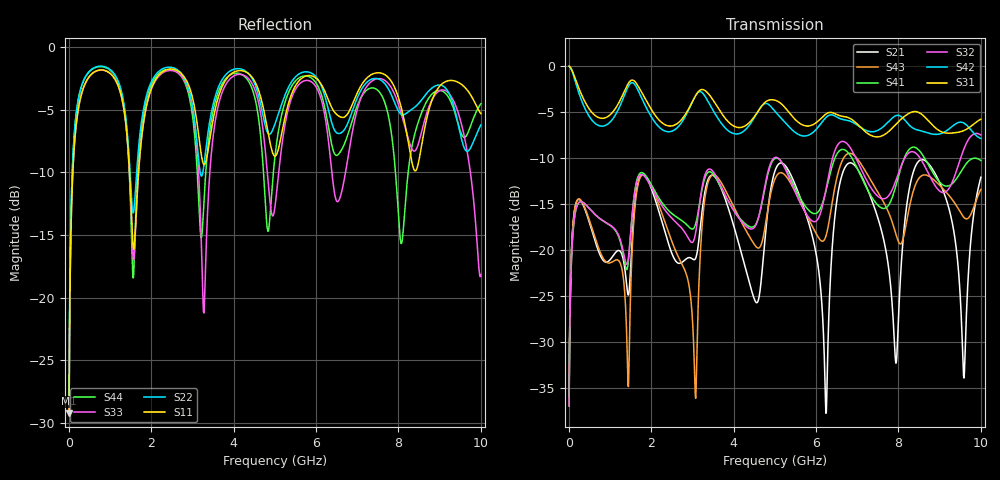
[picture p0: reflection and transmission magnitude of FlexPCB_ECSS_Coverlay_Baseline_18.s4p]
! TOUCHSTONE file generated by CST MICROWAVE STUDIO
! Date and time: Sun Jul  5 19:09:42 2026
! Project name: FlexPCB_ECSS_Coverlay_Baseline.cst
! Parameters = {Gap=0.8; GroundW=6.8; Hadh=0.025; Hcov=0.025; Hsub=0.1; L=50; Tcu=0.035; W=0.2}
! Header version: 2024
! Port assignment regex: !\s*Touchstone port\s*([0-9]+)\s*=\s*(CST MWS port|CST DES external port|CST DES block port)\s*(.+)\s* \(\"(.*)\"\)(\s*mode\s*([0-9]+))?.*
! Touchstone port assignment:
! Touchstone port 1 = CST MWS port 1 ("")
! Touchstone port 2 = CST MWS port 2 ("")
! Touchstone port 3 = CST MWS port 3 ("")
! Touchstone port 4 = CST MWS port 4 ("")
# GHz S MA R 50
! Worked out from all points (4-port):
!   1002 points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, 10 MHz to 10 GHz, reference 50 ohm
!   strongest paths, dB at 10 MHz, 2.51 GHz, 5.01 GHz, 7.503 GHz, 10 GHz:
!     S31: 0.0, -6.5, -3.7, -7.7, -5.8
!     S42: 0.0, -7.1, -5.0, -7.0, -7.9
!     S32: -36.9, -16.6, -9.9, -14.2, -7.5
!     S41: -36.9, -16.1, -10.0, -15.1, -10.3
!     S43: -36.0, -19.2, -12.2, -13.7, -13.4
!     S21: -36.0, -20.5, -11.3, -16.5, -12.1
!   lowest |S11| = -29.2 dB at 10 MHz (marker M1), VSWR 1.07, Z = 49.8 - j3.45 ohm
!   |S11| at or under -10 dB: start of sweep to 99.74 MHz; 1.476 GHz to 1.694 GHz (217.5 MHz wide, 13.7 % of centre)
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0.01  0.03457 -91.2  0.01594 85.2  0.9981 -2.4  0.01421 85.3
      0.01594 85.2  0.0397 -91.6  0.01421 85.4  0.9978 -2.7
      0.9981 -2.4  0.01421 85.4  0.03457 -91.2  0.01593 85.2
      0.01421 85.3  0.9978 -2.7  0.01593 85.2  0.03969 -91.6
1.57  0.1569 171.7  0.1445 56.6  0.8357 -176.3  0.1823 -108.9
      0.1445 56.6  0.2181 -178.7  0.1803 -111.9  0.8076 -178.5
      0.8357 -176.3  0.1803 -111.9  0.1414 169.1  0.1341 68.1
      0.1823 -108.9  0.8076 -178.5  0.1341 68.1  0.12 -178.8
3.25  0.3484 167.9  0.1722 32.1  0.745 4.6  0.222 57.0
      0.1722 32.1  0.3137 -173.8  0.2283 64.9  0.7123 -3.9
      0.745 4.6  0.2283 64.9  0.1071 138.2  0.1477 65.8
      0.222 57.0  0.7123 -3.9  0.1477 65.8  0.1948 -164.5
4.94  0.3818 163.8  0.2376 25.8  0.6557 -178.5  0.3027 -125.0
      0.2376 25.8  0.4637 -177.5  0.3086 -122.9  0.5897 169.8
      0.6557 -178.5  0.3086 -122.9  0.2124 168.1  0.2201 65.4
      0.3027 -125.0  0.5897 169.8  0.2201 65.4  0.2826 -151.8
6.24  0.6506 160.6  0.01295 -168.8  0.548 42.9  0.2084 107.9
      0.01295 -168.8  0.6156 156.9  0.2124 120.5  0.5246 41.7
      0.548 42.9  0.2124 120.5  0.5018 141.7  0.119 -176.8
      0.2084 107.9  0.5246 41.7  0.119 -176.8  0.5456 153.6
8.34  0.3392 152.9  0.2563 2.9  0.5633 175.2  0.3619 -135.1
      0.2563 2.9  0.5672 177.4  0.3423 -137.2  0.4616 157.2
      0.5633 175.2  0.3423 -137.2  0.3892 165.8  0.2016 32.4
      0.3619 -135.1  0.4616 157.2  0.2016 32.4  0.4107 -146.7
10  0.5426 155.3  0.2486 -23.8  0.514 -8.7  0.3066 38.4
    0.2486 -23.8  0.489 -169.2  0.4213 38.3  0.4037 -29.4
    0.514 -8.7  0.4213 38.3  0.1236 -168.6  0.2135 21.7
    0.3066 38.4  0.4037 -29.4  0.2135 21.7  0.5942 -164.3
